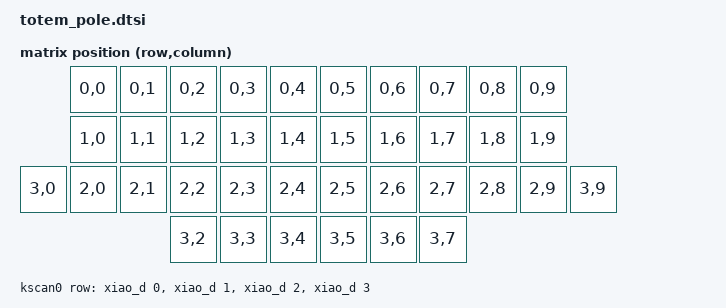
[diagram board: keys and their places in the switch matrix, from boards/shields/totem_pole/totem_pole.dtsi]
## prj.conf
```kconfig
CONFIG_ZMK_USB=y
CONFIG_ZMK_BLE=n
CONFIG_ZMK_USB_LOGGING=y
```

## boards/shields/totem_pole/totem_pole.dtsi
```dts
/*
 * Copyright (c) 2022 The ZMK Contributors
 *
 * SPDX-License-Identifier: MIT
 */

#include <dt-bindings/zmk/matrix_transform.h>

/ {
    chosen {
        zmk,kscan = &kscan0;
        zmk,matrix_transform = &default_transform;
    };

    default_transform: keymap_transform_0 {
        compatible = "zmk,matrix-transform";
        columns = <10>;
        rows = <4>;
//             | SW01  | SW02  | SW03  | SW04  | SW05  |  | SW05  | SW04  | SW03  | SW02  | SW01  |
//             | SW06  | SW07  | SW08  | SW09  | SW10  |  | SW10  | SW09  | SW08  | SW07  | SW06  | 
//      | SW16 | SW11  | SW12  | SW13  | SW14  | SW15  |  | SW15  | SW14  | SW13  | SW12  | SW11  | SW16  |
//                             | SW17  | SW18  | SW19  |  | SW19  | SW18  | SW17  | 
        map = <
                RC(0,0) RC(0,1) RC(0,2) RC(0,3) RC(0,4)    RC(0,5) RC(0,6) RC(0,7) RC(0,8) RC(0,9)
                RC(1,0) RC(1,1) RC(1,2) RC(1,3) RC(1,4)    RC(1,5) RC(1,6) RC(1,7) RC(1,8) RC(1,9)
        RC(3,0) RC(2,0) RC(2,1) RC(2,2) RC(2,3) RC(2,4)    RC(2,5) RC(2,6) RC(2,7) RC(2,8) RC(2,9) RC(3,9)
                                RC(3,2) RC(3,3) RC(3,4)    RC(3,5) RC(3,6) RC(3,7)         
        >;
    };

    kscan0: kscan_0 {
        compatible = "zmk,kscan-gpio-matrix";
        label = "KSCAN";
        
        diode-direction = "col2row"; 
        row-gpios
            = <&xiao_d 0 (GPIO_ACTIVE_HIGH | GPIO_PULL_DOWN)>
            , <&xiao_d 1 (GPIO_ACTIVE_HIGH | GPIO_PULL_DOWN)>
            , <&xiao_d 2 (GPIO_ACTIVE_HIGH | GPIO_PULL_DOWN)>
            , <&xiao_d 3 (GPIO_ACTIVE_HIGH | GPIO_PULL_DOWN)>
            ;
    };

    buttons {
        compatible = "gpio-keys";
        button0: button_0 {
            gpios
                = <&gpio1 14 0>
                , <&gpio1 13 0>
                , <&gpio1 15 0>;
            label = "data, clk, rst";
        };
    };
};
```

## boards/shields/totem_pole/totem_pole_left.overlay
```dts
/*
 * Copyright (c) 2022 The ZMK Contributors
 *
 * SPDX-License-Identifier: MIT
 */

#include "totem_pole.dtsi"

&kscan0 {
    col-gpios
        = <&xiao_d 4 GPIO_ACTIVE_HIGH>
        , <&xiao_d 5 GPIO_ACTIVE_HIGH>
        , <&xiao_d 10 GPIO_ACTIVE_HIGH>
        , <&xiao_d 9 GPIO_ACTIVE_HIGH>
        ;
};
```

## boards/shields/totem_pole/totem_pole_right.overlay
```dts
/*
 * Copyright (c) 2022 The ZMK Contributors
 *
 * SPDX-License-Identifier: MIT
 */

#include "totem_pole.dtsi"

&default_transform {
    col-offset = <5>;
};

&kscan0 {
    col-gpios
        = <&xiao_d 9 GPIO_ACTIVE_HIGH>
        , <&xiao_d 10 GPIO_ACTIVE_HIGH>
        , <&xiao_d 5 GPIO_ACTIVE_HIGH>
        , <&xiao_d 4 GPIO_ACTIVE_HIGH>
        ;
};
```

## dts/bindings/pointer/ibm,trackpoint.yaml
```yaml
# Copyright (c) 2018, Linaro Limited
# SPDX-License-Identifier: Apache-2.0

description: Trackpoint Module

compatible: "ibm,trackpoint"

properties:
  gpios:
    type: phandle-array
    required: true
```

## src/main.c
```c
/*
 * Copyright (c) 2020 The ZMK Contributors
 *
 * SPDX-License-Identifier: MIT
 */

#include <zephyr.h>
#include <device.h>
#include <devicetree.h>
#include <settings/settings.h>

#include <logging/log.h>
LOG_MODULE_REGISTER(zmk, CONFIG_ZMK_LOG_LEVEL);

#include <zmk/matrix.h>
#include <zmk/kscan.h>
#include <zmk/display.h>
#include <drivers/ext_power.h>

#ifdef CONFIG_ZMK_MOUSE
#include <zmk/mouse.h>
#endif /* CONFIG_ZMK_MOUSE */

#include <zmk/trackpoint.h>

#define ZMK_KSCAN_DEV DT_LABEL(ZMK_MATRIX_NODE_ID)

void main(void) {
    LOG_INF("Welcome to ZMK!\n");

    if (zmk_kscan_init(ZMK_KSCAN_DEV) != 0) {
        return;
    }

#ifdef CONFIG_ZMK_DISPLAY
    zmk_display_init();
#endif /* CONFIG_ZMK_DISPLAY */

#ifdef CONFIG_ZMK_MOUSE
    zmk_mouse_init();
#endif /* CONFIG_ZMK_MOUSE */

    printk("\nTrackpoint gonna be called\n");
    zmk_trackpoint_init();
}
```
